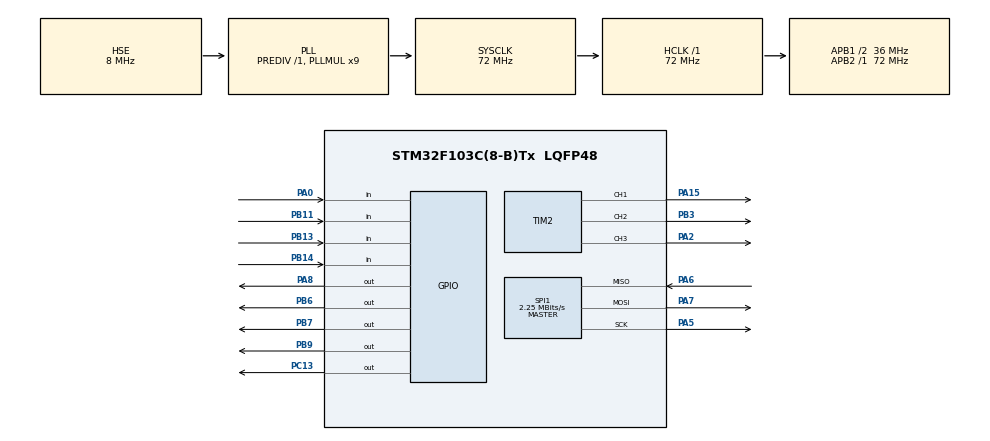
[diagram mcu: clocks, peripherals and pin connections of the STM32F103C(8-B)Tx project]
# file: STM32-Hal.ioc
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Mcu.Family=STM32F1
Mcu.Name=STM32F103C(8-B)Tx
Mcu.Package=LQFP48
NVIC.PriorityGroup=NVIC_PRIORITYGROUP_4
PA0-WKUP.Signal=GPIO_Input
PA13.Mode=Serial_Wire
PA13.Signal=SYS_JTMS-SWDIO
PA14.Mode=Serial_Wire
PA14.Signal=SYS_JTCK-SWCLK
PA15.Signal=S_TIM2_CH1_ETR
PA2.Signal=S_TIM2_CH3
PA5.Mode=Full_Duplex_Master
PA5.Signal=SPI1_SCK
PA6.Mode=Full_Duplex_Master
PA6.Signal=SPI1_MISO
PA7.Mode=Full_Duplex_Master
PA7.Signal=SPI1_MOSI
PA8.PinState=GPIO_PIN_SET
PA8.Signal=GPIO_Output
PB11.Signal=GPIO_Input
PB13.Signal=GPIO_Input
PB14.Signal=GPIO_Input
PB3.Signal=S_TIM2_CH2
PB6.Signal=GPIO_Output
PB7.Signal=GPIO_Output
PB9.GPIO_Speed=GPIO_SPEED_FREQ_HIGH
PB9.PinState=GPIO_PIN_SET
PB9.Signal=GPIO_Output
PC13-TAMPER-RTC.GPIO_ModeDefaultOutputPP=GPIO_MODE_OUTPUT_PP
PC13-TAMPER-RTC.GPIO_PuPd=GPIO_NOPULL
PC13-TAMPER-RTC.PinState=GPIO_PIN_SET
PC13-TAMPER-RTC.Signal=GPIO_Output
PD0-OSC_IN.Mode=HSE-External-Oscillator
PD0-OSC_IN.Signal=RCC_OSC_IN
PD1-OSC_OUT.Mode=HSE-External-Oscillator
PD1-OSC_OUT.Signal=RCC_OSC_OUT
ProjectManager.HeapSize=0x200
ProjectManager.StackSize=0x400
ProjectManager.TargetToolchain=MDK-ARM V5.32
RCC.AHBFreq_Value=72000000
RCC.APB1CLKDivider=RCC_HCLK_DIV2
RCC.APB1Freq_Value=36000000
RCC.APB1TimFreq_Value=72000000
RCC.APB2Freq_Value=72000000
RCC.APB2TimFreq_Value=72000000
RCC.HCLKFreq_Value=72000000
RCC.PLLMUL=RCC_PLL_MUL9
RCC.PLLSourceVirtual=RCC_PLLSOURCE_HSE
RCC.SYSCLKFreq_VALUE=72000000
RCC.SYSCLKSource=RCC_SYSCLKSOURCE_PLLCLK
RCC.USBFreq_Value=72000000
SH.S_TIM2_CH1_ETR.0=TIM2_CH1,PWM Generation1 CH1
SH.S_TIM2_CH2.0=TIM2_CH2,PWM Generation2 CH2
SH.S_TIM2_CH3.0=TIM2_CH3,PWM Generation3 CH3
SPI1.BaudRatePrescaler=SPI_BAUDRATEPRESCALER_32
SPI1.CalculateBaudRate=2.25 MBits/s
SPI1.Direction=SPI_DIRECTION_2LINES
SPI1.Mode=SPI_MODE_MASTER
SPI1.VirtualType=VM_MASTER
TIM2.Channel-PWM\ Generation1\ CH1=TIM_CHANNEL_1
TIM2.Channel-PWM\ Generation2\ CH2=TIM_CHANNEL_2
TIM2.Channel-PWM\ Generation3\ CH3=TIM_CHANNEL_3
VP_TIM2_VS_ClockSourceINT.Mode=Internal
board=custom

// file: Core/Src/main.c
/* USER CODE BEGIN Header */
/**
  ******************************************************************************
  * @file           : main.c
  * @brief          : Main program body
  ******************************************************************************
  * @attention
  *
  * Copyright (c) 2025 STMicroelectronics.
  * All rights reserved.
  *
  * This software is licensed under terms that can be found in the LICENSE file
  * in the root directory of this software component.
  * If no LICENSE file comes with this software, it is provided AS-IS.
  *
  ******************************************************************************
  */
/* USER CODE END Header */
#include "main.h"
#include "spi.h"
#include "tim.h"
#include "gpio.h"

/* USER CODE BEGIN Includes */
#include "buzzer.h"
#include "Led.h"
#include "Light_Sensor.h"
#include "OLED.h"
#include "Red_Avoid.h"
#include "RgbLed.h"
#include "stdint.h" // 添加此行
/* USER CODE END Includes */

/* USER CODE BEGIN PTD */
int led_count = 0;
int led_state = 0;
/* USER CODE END PTD */

/* USER CODE BEGIN PD */
static void SetLedState(uint8_t led_state)  //对CS拉低拉高
{
    uint8_t writeEnableCmd ={0x06};
    HAL_GPIO_WritePin(GPIOA,GPIO_PIN_7,GPIO_PIN_RESET);
    HAL_SPI_Transmit(&hspi1,&writeEnableCmd,1,HAL_MAX_DELAY);
    HAL_GPIO_WritePin(GPIOA,GPIO_PIN_7,GPIO_PIN_SET);
    HAL_Delay(100);
    uint8_t sectorEraseCmd[] ={0x20,0x00,0x00,0x00};
    HAL_GPIO_WritePin(GPIOA,GPIO_PIN_7,GPIO_PIN_RESET);
    HAL_SPI_Transmit(&hspi1,sectorEraseCmd,4,HAL_MAX_DELAY);
    HAL_GPIO_WritePin(GPIOA,GPIO_PIN_7,GPIO_PIN_SET);
    uint8_t pageProgCmd[5];
    pageProgCmd[0] = 0x02;
    pageProgCmd[1] = 0x00;
    pageProgCmd[2] = 0x00;
    pageProgCmd[3] = 0x00;
    pageProgCmd[4] = led_state;
    HAL_GPIO_WritePin(GPIOA,GPIO_PIN_7,GPIO_PIN_RESET);
    HAL_SPI_Transmit(&hspi1,pageProgCmd,5,HAL_MAX_DELAY);
    HAL_GPIO_WritePin(GPIOA,GPIO_PIN_7,GPIO_PIN_SET);
}
/* USER CODE END PD */

void SystemClock_Config(void);

int main(void)
{

  /* USER CODE BEGIN 1 */
OLED_Init();

  /* USER CODE END 1 */

  /* MCU Configuration--------------------------------------------------------*/

  /* Reset of all peripherals, Initializes the Flash interface and the Systick. */
  HAL_Init();

  /* Configure the system clock */
  SystemClock_Config();

  /* Initialize all configured peripherals */
  MX_GPIO_Init();
  MX_SPI1_Init();
  MX_TIM2_Init();
  /* USER CODE BEGIN 2 */
  RGB_LED_Init(); // 初始化RGB LED
  /* USER CODE END 2 */

  /* Infinite loop */
  /* USER CODE BEGIN WHILE */

  /* Infinite loop */
/* USER CODE BEGIN WHILE */
while (1)
{
    /* USER CODE END WHILE */
    // 按键检测和LED状态切换
    if(HAL_GPIO_ReadPin(GPIOB, GPIO_PIN_14) == GPIO_PIN_RESET) // 检测按键是否按下
    {
      HAL_Delay(50); // 延时消抖
      if(HAL_GPIO_ReadPin(GPIOB, GPIO_PIN_14) == GPIO_PIN_RESET) // 再次检测确认按键按下
      {
        led_state = !led_state; // 切换LED状态
        if(led_state)
        {
          led_on();
        }
        else
        {
          led_off();
        }
        while(HAL_GPIO_ReadPin(GPIOB, GPIO_PIN_14) == GPIO_PIN_RESET); // 等待按键释放
      }
    }
  }
}
  /* USER CODE END 3 */
void SystemClock_Config(void)
{
  RCC_OscInitTypeDef RCC_OscInitStruct = {0};
  RCC_ClkInitTypeDef RCC_ClkInitStruct = {0};

  /** Initializes the RCC Oscillators according to the specified parameters
  * in the RCC_OscInitTypeDef structure.
  */
  RCC_OscInitStruct.OscillatorType = RCC_OSCILLATORTYPE_HSE;
  RCC_OscInitStruct.HSEState = RCC_HSE_ON;
  RCC_OscInitStruct.HSEPredivValue = RCC_HSE_PREDIV_DIV1;
  RCC_OscInitStruct.HSIState = RCC_HSI_ON;
  RCC_OscInitStruct.PLL.PLLState = RCC_PLL_ON;
  RCC_OscInitStruct.PLL.PLLSource = RCC_PLLSOURCE_HSE;
  RCC_OscInitStruct.PLL.PLLMUL = RCC_PLL_MUL9;
  if (HAL_RCC_OscConfig(&RCC_OscInitStruct) != HAL_OK)
  {
    Error_Handler();
  }

  /** Initializes the CPU, AHB and APB buses clocks
  */
  RCC_ClkInitStruct.ClockType = RCC_CLOCKTYPE_HCLK|RCC_CLOCKTYPE_SYSCLK
                              |RCC_CLOCKTYPE_PCLK1|RCC_CLOCKTYPE_PCLK2;
  RCC_ClkInitStruct.SYSCLKSource = RCC_SYSCLKSOURCE_PLLCLK;
  RCC_ClkInitStruct.AHBCLKDivider = RCC_SYSCLK_DIV1;
  RCC_ClkInitStruct.APB1CLKDivider = RCC_HCLK_DIV2;
  RCC_ClkInitStruct.APB2CLKDivider = RCC_HCLK_DIV1;

  if (HAL_RCC_ClockConfig(&RCC_ClkInitStruct, FLASH_LATENCY_2) != HAL_OK)
  {
    Error_Handler();
  }
}

void Error_Handler(void)
{
  __disable_irq();
  while (1)
  {
  }
}
